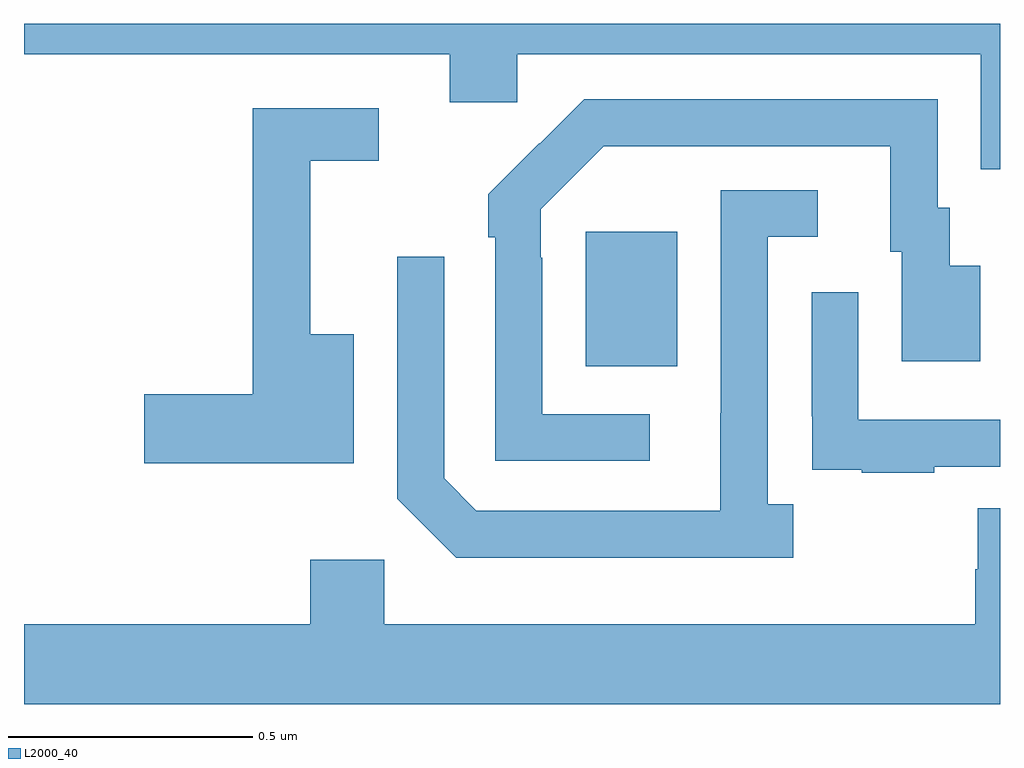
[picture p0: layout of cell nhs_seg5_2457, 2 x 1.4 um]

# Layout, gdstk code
import gdstk
lib = gdstk.Library(unit=1e-6, precision=1e-09)
def R(c, l, rs):  # rectangles x0, y0, x1, y1
    for r in rs: c.add(gdstk.rectangle(r[:2], r[2:], *l))
def P(c, l, *ps):  # polygons
    for p in ps: c.add(gdstk.Polygon(p, *l))
L2000_40 = (2000, 40)

nhs_seg5_2457 = lib.new_cell('nhs_seg5_2457')
R(nhs_seg5_2457, L2000_40, [(145.151,880.097,145.339,880.372)])
P(nhs_seg5_2457, L2000_40, [(146,880.799),(144,880.799),(144,880.736),(144.872,880.736),(144.872,880.638),(145.011,880.638),(145.011,880.736),(145.961,880.736),(145.961,880.501),(146,880.501)],
  [(145.282,879.999),(145.062,879.999),(145.062,880.319),(145.059,880.319),(145.059,880.419),(145.188,880.548),(145.775,880.548),(145.775,880.332),(145.799,880.332),(145.799,880.107),(145.96,880.107),(145.96,880.303),(145.897,880.303),(145.897,880.422),(145.872,880.422),(145.872,880.644),(145.148,880.644),(145.057,880.553),(145.056,880.554),(144.951,880.449),(144.951,880.361),(144.966,880.361),(144.966,879.903),(145.282,879.903)],
  [(144.676,880.162),(144.587,880.162),(144.587,880.518),(144.727,880.518),(144.727,880.626),(144.469,880.626),(144.469,880.04),(144.246,880.04),(144.246,879.898),(144.676,879.898)],
  [(145.576,879.814),(145.524,879.814),(145.524,880.362),(145.627,880.362),(145.627,880.458),(145.428,880.458),(145.428,880.001),(145.427,880.001),(145.427,879.801),(144.927,879.801),(144.861,879.867),(144.861,880.321),(144.765,880.321),(144.765,879.825),(144.886,879.704),(145.576,879.704)],
  [(145.865,879.891),(146,879.891),(146,879.987),(145.71,879.987),(145.71,880.249),(145.614,880.249),(145.614,879.994),(145.615,879.994),(145.615,879.885),(145.717,879.885),(145.717,879.879),(145.865,879.879)],
  [(146,879.806),(145.954,879.806),(145.954,879.681),(145.949,879.681),(145.949,879.568),(144.738,879.568),(144.738,879.7),(144.587,879.7),(144.587,879.568),(144,879.568),(144,879.404),(146,879.404)])

lib.write_gds('nhs_seg5_2457.gds')
